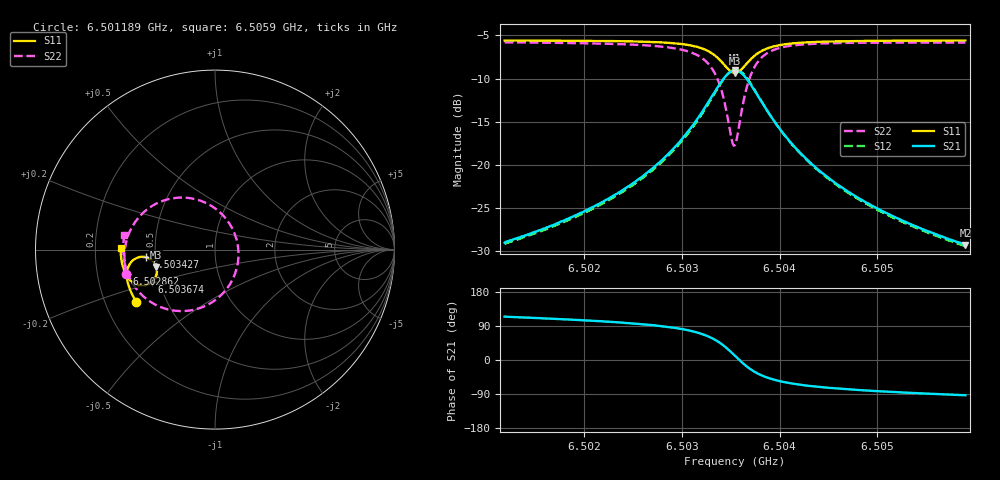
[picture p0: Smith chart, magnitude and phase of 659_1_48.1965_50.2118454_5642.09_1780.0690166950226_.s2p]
#  HZ  S  RI  R  50.00
! Rohde & Schwarz Vector Network Analyzer
! Rohde-Schwarz,ZNB20-2Port,1311601062101988,3.16
! Created: UTC 3/20/2024, 12:05:38 PM
! freq[Hz]  re:S11  im:S11  re:S21  im:S21  re:S12  im:S12  re:S22  im:S22
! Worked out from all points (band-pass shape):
!   401 points, 6.501189 GHz to 6.5059 GHz, reference 50 ohm
!   highest |S21| = -9.04 dB at 6.503545 GHz (marker M1); lowest = -29.2 dB at 6.5059 GHz (marker M2)
!   |S21| within 3 dB of the highest: 6.50331 GHz to 6.503781 GHz (471.5 kHz wide, 0.00725 % of centre)
!   lowest |S11| = -9.3 dB at 6.503545 GHz (marker M3), VSWR 2.03, Z = 25 - j5.49 ohm
!   |S11| at or under -10 dB: nowhere
!   |S22| runs from -17.8 to -5.8 dB; largest |S21 - S12| = 0.013
!   S11 on the Smith chart (normalised r, x): 6.501189 GHz: 0.34, -0.27; 6.502862 GHz: 0.33, -0.12; 6.503427 GHz: 0.45, -0.04; 6.503674 GHz: 0.46, -0.19; 6.5059 GHz: 0.31, +0.01
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6.5011892e9  -0.4378 -0.2919  -0.0147 0.0324  -0.0128 0.0327  -0.4957 -0.1339
6.5019783e9  -0.4699 -0.2316  -0.0138 0.0512  -0.011 0.0508  -0.5052 -0.0462
6.5023905e9  -0.4836 -0.1936  -0.0106 0.0705  -0.00719 0.0692  -0.5005 0.0154
6.5027674e9  -0.4913 -0.1501  -0.000319 0.103  0.00377 0.1003  -0.4772 0.0958
6.5028617e9  -0.4914 -0.1366  0.00555 0.1156  0.00987 0.1124  -0.4642 0.1226
6.5030619e9  -0.4855 -0.1021  0.0308 0.1524  0.0349 0.1474  -0.4121 0.1935
6.5032032e9  -0.4689 -0.0715  0.0723 0.1874  0.0756 0.1809  -0.3318 0.254
6.5033328e9  -0.4311 -0.0448  0.1526 0.2137  0.1538 0.2067  -0.1859 0.29
6.503427e9  -0.3825 -0.0428  0.2477 0.1959  0.2483 0.1905  -0.0211 0.2442
6.5035095e9  -0.3381 -0.0738  0.3289 0.118  0.3319 0.1126  0.1088 0.0902
6.5035448e9  -0.3269 -0.0972  0.3468 0.067  0.3512 0.0604  0.1303 -0.00556
6.5035683e9  -0.3238 -0.1142  0.3505 0.031  0.355 0.0229  0.1278 -0.0721
6.5036037e9  -0.3262 -0.1395  0.3425 -0.0213  0.3465 -0.0318  0.0985 -0.1652
6.5036743e9  -0.3495 -0.1784  0.2934 -0.1007  0.2932 -0.114  -0.0169 -0.2939
6.5037686e9  -0.3921 -0.1989  0.2116 -0.1455  0.2061 -0.157  -0.1837 -0.3424
6.5038392e9  -0.4192 -0.1989  0.162 -0.1508  0.1544 -0.1597  -0.2768 -0.3293
6.5039217e9  -0.4432 -0.1915  0.1197 -0.1443  0.1118 -0.1507  -0.3508 -0.2963
6.5040866e9  -0.4731 -0.1704  0.07 -0.1223  0.0627 -0.1252  -0.4319 -0.2266
6.5043339e9  -0.4959 -0.1388  0.0357 -0.0942  0.0303 -0.095  -0.4811 -0.1466
6.5046873e9  -0.5115 -0.1004  0.0159 -0.0691  0.012 -0.0689  -0.5045 -0.0696
6.505123e9  -0.521 -0.0588  0.00558 -0.0515  0.00292 -0.0507  -0.5113 -0.00394
6.5059004e9  -0.5261 0.00796  -0.00187 -0.0345  -0.00347 -0.0337  -0.5046 0.0822
